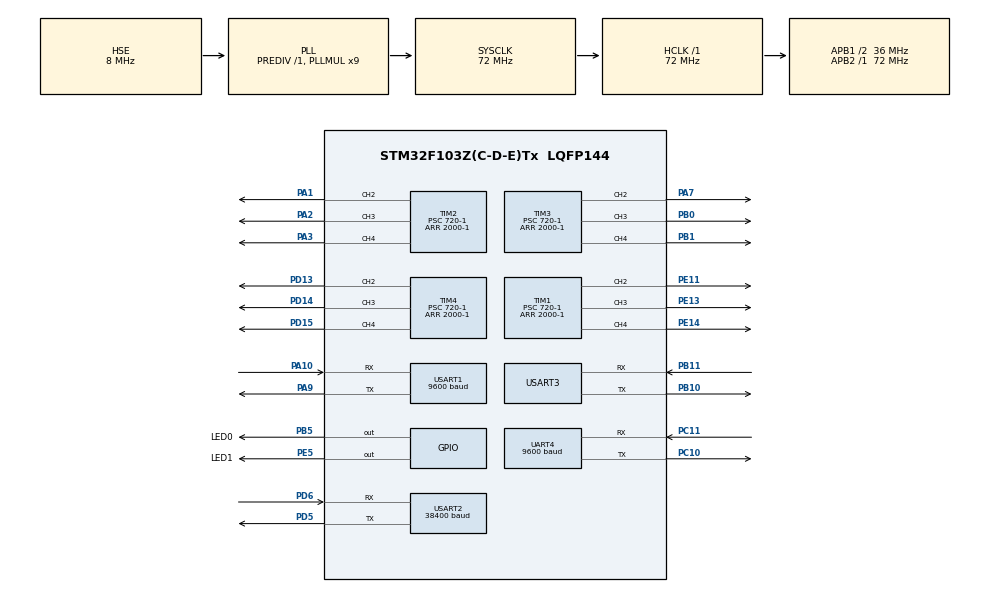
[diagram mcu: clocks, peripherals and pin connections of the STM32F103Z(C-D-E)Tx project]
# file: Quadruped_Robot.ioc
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FREERTOS.INCLUDE_vTaskDelayUntil=1
FREERTOS.Tasks01=Task_IMU,0,128,Task_IMU_Start,As weak,NULL,Dynamic,NULL,NULL;Task_StateM,1,128,Task_StateMachine_Start,As weak,NULL,Dynamic,NULL,NULL;Task_Init,2,128,Task_Init_Start,As weak,NULL,Dynamic,NULL,NULL;Task_Control,0,128,Task_Control_Start,As weak,NULL,Dynamic,NULL,NULL
Mcu.Family=STM32F1
Mcu.Name=STM32F103Z(C-D-E)Tx
Mcu.Package=LQFP144
NVIC.PriorityGroup=NVIC_PRIORITYGROUP_4
NVIC.TIM8_UP_IRQn=true\:0\:0\:false\:false\:true\:false\:false\:true
NVIC.TimeBase=TIM8_UP_IRQn
NVIC.TimeBaseIP=TIM8
NVIC.UART4_IRQn=true\:5\:0\:false\:false\:true\:true\:true\:true
NVIC.USART1_IRQn=true\:5\:0\:true\:false\:true\:true\:true\:true
NVIC.USART2_IRQn=true\:5\:0\:false\:false\:true\:true\:true\:true
NVIC.USART3_IRQn=true\:5\:0\:false\:false\:true\:true\:true\:true
OSC_IN.Mode=HSE-External-Oscillator
OSC_IN.Signal=RCC_OSC_IN
OSC_OUT.Mode=HSE-External-Oscillator
OSC_OUT.Signal=RCC_OSC_OUT
PA1.GPIO_Speed=GPIO_SPEED_FREQ_HIGH
PA1.Signal=S_TIM2_CH2
PA10.GPIO_Mode=GPIO_MODE_INPUT
PA10.GPIO_PuPd=GPIO_NOPULL
PA10.Mode=Asynchronous
PA10.Signal=USART1_RX
PA13.Mode=Serial_Wire
PA13.Signal=SYS_JTMS-SWDIO
PA14.Mode=Serial_Wire
PA14.Signal=SYS_JTCK-SWCLK
PA2.GPIO_Speed=GPIO_SPEED_FREQ_HIGH
PA2.Signal=S_TIM2_CH3
PA3.GPIO_Speed=GPIO_SPEED_FREQ_HIGH
PA3.Signal=S_TIM2_CH4
PA7.GPIO_Speed=GPIO_SPEED_FREQ_HIGH
PA7.Signal=S_TIM3_CH2
PA9.Mode=Asynchronous
PA9.Signal=USART1_TX
PB0.GPIO_Speed=GPIO_SPEED_FREQ_HIGH
PB0.Signal=S_TIM3_CH3
PB1.GPIO_Speed=GPIO_SPEED_FREQ_HIGH
PB1.Signal=S_TIM3_CH4
PB10.Mode=Asynchronous
PB10.Signal=USART3_TX
PB11.Mode=Asynchronous
PB11.Signal=USART3_RX
PB5.GPIO_Label=LED0
PB5.GPIO_PuPd=GPIO_NOPULL
PB5.GPIO_Speed=GPIO_SPEED_FREQ_LOW
PB5.Signal=GPIO_Output
PC10.Mode=Asynchronous
PC10.Signal=UART4_TX
PC11.Mode=Asynchronous
PC11.Signal=UART4_RX
PD13.GPIO_Speed=GPIO_SPEED_FREQ_HIGH
PD13.Signal=S_TIM4_CH2
PD14.GPIO_Speed=GPIO_SPEED_FREQ_HIGH
PD14.Signal=S_TIM4_CH3
PD15.GPIO_Speed=GPIO_SPEED_FREQ_HIGH
PD15.Signal=S_TIM4_CH4
PD5.Mode=Asynchronous
PD5.Signal=USART2_TX
PD6.Mode=Asynchronous
PD6.Signal=USART2_RX
PE11.GPIO_Speed=GPIO_SPEED_FREQ_HIGH
PE11.Signal=S_TIM1_CH2
PE13.GPIO_Speed=GPIO_SPEED_FREQ_HIGH
PE13.Signal=S_TIM1_CH3
PE14.GPIO_Speed=GPIO_SPEED_FREQ_HIGH
PE14.Signal=S_TIM1_CH4
PE5.GPIO_Label=LED1
PE5.GPIO_PuPd=GPIO_NOPULL
PE5.GPIO_Speed=GPIO_SPEED_FREQ_LOW
PE5.Signal=GPIO_Output
ProjectManager.HeapSize=0x200
ProjectManager.StackSize=0x400
ProjectManager.TargetToolchain=MDK-ARM V5
RCC.AHBFreq_Value=72000000
RCC.APB1CLKDivider=RCC_HCLK_DIV2
RCC.APB1Freq_Value=36000000
RCC.APB1TimFreq_Value=72000000
RCC.APB2Freq_Value=72000000
RCC.APB2TimFreq_Value=72000000
RCC.HCLKFreq_Value=72000000
RCC.PLLMUL=RCC_PLL_MUL9
RCC.PLLSourceVirtual=RCC_PLLSOURCE_HSE
RCC.SYSCLKFreq_VALUE=72000000
RCC.SYSCLKSource=RCC_SYSCLKSOURCE_PLLCLK
RCC.USBFreq_Value=72000000
SH.S_TIM1_CH2.0=TIM1_CH2,PWM Generation2 CH2
SH.S_TIM1_CH3.0=TIM1_CH3,PWM Generation3 CH3
SH.S_TIM1_CH4.0=TIM1_CH4,PWM Generation4 CH4
SH.S_TIM2_CH2.0=TIM2_CH2,PWM Generation2 CH2
SH.S_TIM2_CH3.0=TIM2_CH3,PWM Generation3 CH3
SH.S_TIM2_CH4.0=TIM2_CH4,PWM Generation4 CH4
SH.S_TIM3_CH2.0=TIM3_CH2,PWM Generation2 CH2
SH.S_TIM3_CH3.0=TIM3_CH3,PWM Generation3 CH3
SH.S_TIM3_CH4.0=TIM3_CH4,PWM Generation4 CH4
SH.S_TIM4_CH2.0=TIM4_CH2,PWM Generation2 CH2
SH.S_TIM4_CH3.0=TIM4_CH3,PWM Generation3 CH3
SH.S_TIM4_CH4.0=TIM4_CH4,PWM Generation4 CH4
TIM1.Channel-PWM\ Generation2\ CH2=TIM_CHANNEL_2
TIM1.Channel-PWM\ Generation3\ CH3=TIM_CHANNEL_3
TIM1.Channel-PWM\ Generation4\ CH4=TIM_CHANNEL_4
TIM1.Period=2000-1
TIM1.Prescaler=720-1
TIM2.Channel-PWM\ Generation2\ CH2=TIM_CHANNEL_2
TIM2.Channel-PWM\ Generation3\ CH3=TIM_CHANNEL_3
TIM2.Channel-PWM\ Generation4\ CH4=TIM_CHANNEL_4
TIM2.Period=2000-1
TIM2.Prescaler=720-1
TIM3.Channel-PWM\ Generation2\ CH2=TIM_CHANNEL_2
TIM3.Channel-PWM\ Generation3\ CH3=TIM_CHANNEL_3
TIM3.Channel-PWM\ Generation4\ CH4=TIM_CHANNEL_4
TIM3.Period=2000-1
TIM3.Prescaler=720-1
TIM4.Channel-PWM\ Generation2\ CH2=TIM_CHANNEL_2
TIM4.Channel-PWM\ Generation3\ CH3=TIM_CHANNEL_3
TIM4.Channel-PWM\ Generation4\ CH4=TIM_CHANNEL_4
TIM4.Period=2000-1
TIM4.Prescaler=720-1
UART4.BaudRate=9600
UART4.VirtualMode=Asynchronous
USART1.BaudRate=9600
USART1.VirtualMode=VM_ASYNC
USART2.BaudRate=38400
USART2.VirtualMode=VM_ASYNC
USART3.VirtualMode=VM_ASYNC
VP_FREERTOS_VS_CMSIS_V1.Mode=CMSIS_V1
VP_SYS_VS_tim8.Mode=TIM8
VP_TIM1_VS_ClockSourceINT.Mode=Internal
VP_TIM2_VS_ClockSourceINT.Mode=Internal
VP_TIM3_VS_ClockSourceINT.Mode=Internal
VP_TIM4_VS_ClockSourceINT.Mode=Internal
board=custom

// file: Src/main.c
/* USER CODE BEGIN Header */
/**
  ******************************************************************************
  * @file           : main.c
  * @brief          : Main program body
  ******************************************************************************
  * @attention
  *
  * <h2><center>&copy; Copyright (c) 2020 STMicroelectronics.
  * All rights reserved.</center></h2>
  *
  * This software component is licensed by ST under Ultimate Liberty license
  * SLA0044, the "License"; You may not use this file except in compliance with
  * the License. You may obtain a copy of the License at:
  *                             www.st.com/SLA0044
  *
  ******************************************************************************
  */
/* USER CODE END Header */

#include "main.h"
#include "cmsis_os.h"
#include "tim.h"
#include "usart.h"
#include "gpio.h"

/* USER CODE BEGIN Includes */
#include "stdio.h"
#include <string.h>
/* USER CODE END Includes */

/* USER CODE BEGIN PV */
extern osMailQId myMail01Handle;
uint8_t data[20];
extern osMailQId myMail02Handle;
uint8_t data2[20];
//extern osMailQId myMail03Handle;
//uint8_t data3[20];
/*******USART3陀螺仪相关参数*******/
uint8_t Re_buf[11],counter=0;
static unsigned char Temp[11];

/*******UART4超声波模块相关参数*******/
uint8_t Re_buf2[10],counter2=0;
static unsigned char Temp2[10];
uint8_t data3[10];

/* USER CODE END PV */

void SystemClock_Config(void);
void MX_FREERTOS_Init(void);

/* USER CODE BEGIN 0 */

#ifdef __GNUC__
/* With GCC, small printf (option LD Linker->Libraries->Small printf
   set to 'Yes') calls __io_putchar() */
#define PUTCHAR_PROTOTYPE int __io_putchar(int ch)
#else
#define PUTCHAR_PROTOTYPE int fputc(int ch, FILE *f)
#endif /* __GNUC__ */

/* USER CODE END 0 */

int main(void)
{

  /* MCU Configuration--------------------------------------------------------*/

  /* Reset of all peripherals, Initializes the Flash interface and the Systick. */
  HAL_Init();

  /* Configure the system clock */
  SystemClock_Config();

  /* Initialize all configured peripherals */
  MX_GPIO_Init();
  MX_USART1_UART_Init();
  MX_USART2_UART_Init();
  MX_TIM1_Init();
  MX_TIM2_Init();
  MX_TIM3_Init();
  MX_TIM4_Init();
  MX_USART3_UART_Init();
  MX_UART4_Init();
  /* USER CODE BEGIN 2 */

  printf("** System inited successfully. ** \r\n");

  /* USER CODE END 2 */

  /* Call init function for freertos objects (in freertos.c) */
  MX_FREERTOS_Init();
  /* Start scheduler */
  osKernelStart();

  /* We should never get here as control is now taken by the scheduler */
  /* Infinite loop */
  while (1)
  {

  }
}

void SystemClock_Config(void)
{
  RCC_OscInitTypeDef RCC_OscInitStruct = {0};
  RCC_ClkInitTypeDef RCC_ClkInitStruct = {0};

  /** Initializes the CPU, AHB and APB busses clocks
  */
  RCC_OscInitStruct.OscillatorType = RCC_OSCILLATORTYPE_HSE;
  RCC_OscInitStruct.HSEState = RCC_HSE_ON;
  RCC_OscInitStruct.HSEPredivValue = RCC_HSE_PREDIV_DIV1;
  RCC_OscInitStruct.HSIState = RCC_HSI_ON;
  RCC_OscInitStruct.PLL.PLLState = RCC_PLL_ON;
  RCC_OscInitStruct.PLL.PLLSource = RCC_PLLSOURCE_HSE;
  RCC_OscInitStruct.PLL.PLLMUL = RCC_PLL_MUL9;
  if (HAL_RCC_OscConfig(&RCC_OscInitStruct) != HAL_OK)
  {
    Error_Handler();
  }
  /** Initializes the CPU, AHB and APB busses clocks
  */
  RCC_ClkInitStruct.ClockType = RCC_CLOCKTYPE_HCLK|RCC_CLOCKTYPE_SYSCLK
                              |RCC_CLOCKTYPE_PCLK1|RCC_CLOCKTYPE_PCLK2;
  RCC_ClkInitStruct.SYSCLKSource = RCC_SYSCLKSOURCE_PLLCLK;
  RCC_ClkInitStruct.AHBCLKDivider = RCC_SYSCLK_DIV1;
  RCC_ClkInitStruct.APB1CLKDivider = RCC_HCLK_DIV2;
  RCC_ClkInitStruct.APB2CLKDivider = RCC_HCLK_DIV1;

  if (HAL_RCC_ClockConfig(&RCC_ClkInitStruct, FLASH_LATENCY_2) != HAL_OK)
  {
    Error_Handler();
  }
}

/* USER CODE BEGIN 4 */

/**
  * @brief  Retargets the C library printf function to the USART.
  * @param  None
  * @retval None
  */
PUTCHAR_PROTOTYPE
{
  /* Place your implementation of fputc here */
  /* e.g. write a character to the USART1 and Loop until the end of transmission */
  HAL_UART_Transmit(&huart1, (uint8_t *)&ch, 1, 0xFFFF);

  return ch;
}

void HAL_UART_RxCpltCallback(UART_HandleTypeDef *huart)
{
	if(huart->Instance == USART2)
	{
		osMailPut(myMail01Handle,data);
		HAL_UART_Receive_IT(&huart2,data,2);
	}

	if(huart->Instance == USART3)
	{
		Temp[counter]=data2[0];
		if(counter == 0 && Temp[0] != 0x55)
		{
			HAL_UART_Receive_IT(&huart3,data2,1);
			return; //第0号数据不是帧头，跳过
		}
    counter++;
		//printf("%d \n",counter);
    if(counter==11) //接收到11个数据
    {
			memcpy(Re_buf,Temp,11);   //将Temp数组复制到Re_buf
      counter=0;                //重新赋值，准备下一帧数据的接收
			osMailPut(myMail02Handle,Re_buf);
    }
		HAL_UART_Receive_IT(&huart3,data2,1);
	}

	if(huart->Instance == UART4)
	{
		Temp2[counter2]=data3[0];
		if(counter2 == 0 && Temp2[0] != 68)
		{
			HAL_UART_Receive_IT(&huart4,data3,1);
			return; //第0号数据不是帧头，跳过
		}
    counter2++;
    if(counter2==5) //接收到5个数据
    {
			memcpy(Re_buf2,Temp2,5);   //将Temp数组复制到Re_buf
      counter2=0;                //重新赋值，准备下一帧数据的接收
    }
		HAL_UART_Receive_IT(&huart4,data3,1);
	}
}

/* USER CODE END 4 */

 /**
  * @brief  Period elapsed callback in non blocking mode
  * @note   This function is called  when TIM8 interrupt took place, inside
  * HAL_TIM_IRQHandler(). It makes a direct call to HAL_IncTick() to increment
  * a global variable "uwTick" used as application time base.
  * @param  htim : TIM handle
  * @retval None
  */
void HAL_TIM_PeriodElapsedCallback(TIM_HandleTypeDef *htim)
{
  if (htim->Instance == TIM8) {
    HAL_IncTick();
  }
}

void Error_Handler(void)
{
}

/************************ (C) COPYRIGHT STMicroelectronics *****END OF FILE****/

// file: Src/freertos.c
/* USER CODE BEGIN Header */
/**
  ******************************************************************************
  * File Name          : freertos.c
  * Description        : Code for freertos applications
  ******************************************************************************
  * @attention
  *
  * <h2><center>&copy; Copyright (c) 2020 STMicroelectronics.
  * All rights reserved.</center></h2>
  *
  * This software component is licensed by ST under Ultimate Liberty license
  * SLA0044, the "License"; You may not use this file except in compliance with
  * the License. You may obtain a copy of the License at:
  *                             www.st.com/SLA0044
  *
  ******************************************************************************
  */
/* USER CODE END Header */

#include "FreeRTOS.h"
#include "task.h"
#include "main.h"
#include "cmsis_os.h"

/* USER CODE BEGIN Includes */
#include "usart.h"
#include "stdio.h"
/* USER CODE END Includes */

/* USER CODE BEGIN Variables */

osMailQId myMail01Handle;
extern uint8_t data[20];
osMailQId myMail02Handle;
extern uint8_t data2[20];
//osMailQId myMail03Handle;
//extern uint8_t data3[20];

/* USER CODE END Variables */
osThreadId Task_IMUHandle;
osThreadId Task_StateMHandle;
osThreadId Task_InitHandle;
osThreadId Task_ControlHandle;

void Task_IMU_Start(void const * argument);
void Task_StateMachine_Start(void const * argument);
void Task_Init_Start(void const * argument);
void Task_Control_Start(void const * argument);

void MX_FREERTOS_Init(void); /* (MISRA C 2004 rule 8.1) */

/* GetIdleTaskMemory prototype (linked to static allocation support) */
void vApplicationGetIdleTaskMemory( StaticTask_t **ppxIdleTaskTCBBuffer, StackType_t **ppxIdleTaskStackBuffer, uint32_t *pulIdleTaskStackSize );

/* USER CODE BEGIN GET_IDLE_TASK_MEMORY */
static StaticTask_t xIdleTaskTCBBuffer;
static StackType_t xIdleStack[configMINIMAL_STACK_SIZE];

void vApplicationGetIdleTaskMemory( StaticTask_t **ppxIdleTaskTCBBuffer, StackType_t **ppxIdleTaskStackBuffer, uint32_t *pulIdleTaskStackSize )
{
  *ppxIdleTaskTCBBuffer = &xIdleTaskTCBBuffer;
  *ppxIdleTaskStackBuffer = &xIdleStack[0];
  *pulIdleTaskStackSize = configMINIMAL_STACK_SIZE;
  /* place for user code */
}
/* USER CODE END GET_IDLE_TASK_MEMORY */

void MX_FREERTOS_Init(void) {

  /* USER CODE BEGIN RTOS_QUEUES */
  /* add queues, ... */
	osMailQDef(myMail01,5,uint16_t);
	myMail01Handle = osMailCreate (osMailQ(myMail01),NULL);
	osMailQDef(myMail02,10,uint8_t);
	myMail02Handle = osMailCreate (osMailQ(myMail02),NULL);
//	osMailQDef(myMail03,6,uint8_t);
//	myMail03Handle = osMailCreate (osMailQ(myMail03),NULL);
  /* USER CODE END RTOS_QUEUES */

  /* Create the thread(s) */
  /* definition and creation of Task_IMU */
  osThreadDef(Task_IMU, Task_IMU_Start, osPriorityNormal, 0, 128);
  Task_IMUHandle = osThreadCreate(osThread(Task_IMU), NULL);

  /* definition and creation of Task_StateM */
  osThreadDef(Task_StateM, Task_StateMachine_Start, osPriorityAboveNormal, 0, 128);
  Task_StateMHandle = osThreadCreate(osThread(Task_StateM), NULL);

  /* definition and creation of Task_Init */
  osThreadDef(Task_Init, Task_Init_Start, osPriorityHigh, 0, 128);
  Task_InitHandle = osThreadCreate(osThread(Task_Init), NULL);

  /* definition and creation of Task_Control */
  osThreadDef(Task_Control, Task_Control_Start, osPriorityNormal, 0, 128);
  Task_ControlHandle = osThreadCreate(osThread(Task_Control), NULL);

}

__weak void Task_IMU_Start(void const * argument)
{
  for(;;)
  {
    osDelay(1);
  }
}

__weak void Task_StateMachine_Start(void const * argument)
{
  for(;;)
  {
    osDelay(1);
  }
}

__weak void Task_Init_Start(void const * argument)
{
  for(;;)
  {
    osDelay(1);
  }
}

__weak void Task_Control_Start(void const * argument)
{
  for(;;)
  {
    osDelay(1);
  }
}

/************************ (C) COPYRIGHT STMicroelectronics *****END OF FILE****/
